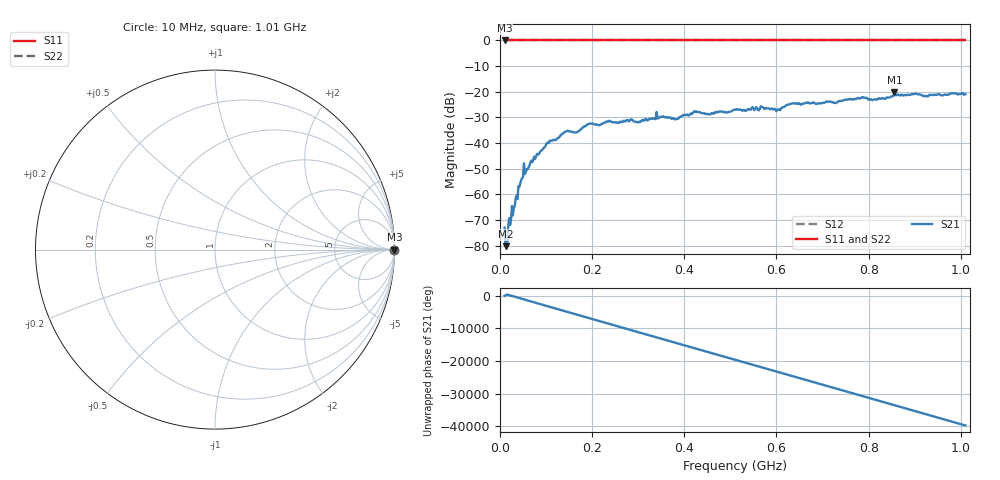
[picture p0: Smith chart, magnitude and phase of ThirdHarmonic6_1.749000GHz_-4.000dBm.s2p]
! 8/16/2025 9:05:33 PM
! C:\ANRITSUVNA\TEMP\TEMP.S2P
! CHANNEL.1
! TR.MEASUREMENT
! RAW.DATA
! RF.CORRECTION.OFF
! AVERAGING.OFF
! IF.BANDWIDTH: 5KHZ
! SWEEPTYPE:  FREQ.SWEEP(Linear)
! Reference Plane Port Info
! PORT:  PORT1  PORT2
! DISTANCE:  0  m  0  m
! TIME:  0  s  0  s
! PHASE.OFFSET:  0  deg.  0  deg.
! LOSS:  0  dB  0  dB
! REF.LOSS:  0  dB  0  dB
! REF.FREQ:  0  Hz  0  Hz
! Power Info
! POWER:  -20  dBm  -20  dBm
! EFF.POWER:  -20  dBm  -20  dBm
! SOURCE.ATTEN:  0  dB  0  dB
! TEST.ATTEN:  0  dB  0  dB
# GHZ S RI R 50.0
! FREQ.GHZ  S11RE  S11IM  S21RE  S21IM  S12RE  S12IM  S22RE  S22IM
!; PortSelection: Port_12
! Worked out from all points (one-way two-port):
!   501 points, 10 MHz to 1.01 GHz, reference 50 ohm
!   highest |S21| = -20.14 dB at 856 MHz (marker M1); lowest = -80.2 dB at 12 MHz (marker M2)
!   lowest |S11| = 0.0 dB at 10 MHz (marker M3)
!   |S11| at or under -10 dB: nowhere
!   |S22| runs from 0.0 to 0.0 dB; largest |S21 - S12| = 1.1
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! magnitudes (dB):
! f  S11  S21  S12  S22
! 10 MHz  0.0  -72.9  0.0  0.0
! 12 MHz  0.0  -80.2  0.0  0.0
! 16 MHz  0.0  -78.5  0.0  0.0
! 22 MHz  0.0  -71.9  0.0  0.0
! 48 MHz  0.0  -53.7  0.0  0.0
! 70 MHz  0.0  -47.5  0.0  0.0
! 106 MHz  0.0  -39.9  0.0  0.0
! 144 MHz  0.0  -35.4  0.0  0.0
! 178 MHz  0.0  -34.2  0.0  0.0
! 194 MHz  0.0  -32.4  0.0  0.0
! 302 MHz  0.0  -31.8  0.0  0.0
! 344 MHz  0.0  -30.3  0.0  0.0
! 382 MHz  0.0  -30.6  0.0  0.0
! 424 MHz  0.0  -27.8  0.0  0.0
! 452 MHz  0.0  -28.7  0.0  0.0
! 510 MHz  0.0  -27.0  0.0  0.0
! 604 MHz  0.0  -26.8  0.0  0.0
! 632 MHz  0.0  -24.7  0.0  0.0
! 678 MHz  0.0  -24.4  0.0  0.0
! 844 MHz  0.0  -22.3  0.0  0.0
! 856 MHz  0.0  -20.1  0.0  0.0
! 1.01 GHz  0.0  -20.9  0.0  0.0
